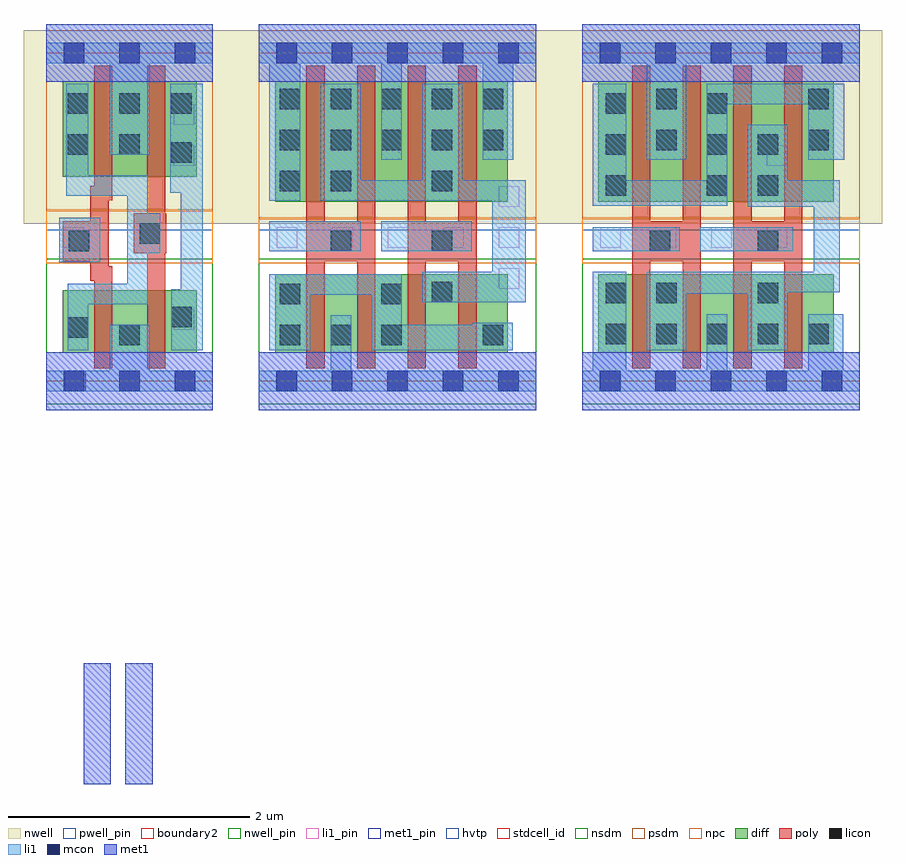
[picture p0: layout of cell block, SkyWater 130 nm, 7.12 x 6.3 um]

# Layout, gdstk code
import gdstk
lib = gdstk.Library(unit=1e-6, precision=1e-09)
def R(c, l, rs):  # rectangles x0, y0, x1, y1
    for r in rs: c.add(gdstk.rectangle(r[:2], r[2:], *l))
def A(c, l, x, y, w, h, nx, ny, dx, dy):  # array of equal rectangles
    R(c, l, [(x+i*dx, y+j*dy, x+i*dx+w, y+j*dy+h) for i in range(nx) for j in range(ny)])
def P(c, l, *ps):  # polygons
    for p in ps: c.add(gdstk.Polygon(p, *l))
nwell_pin = (64, 16)
nwell = (64, 20)
diff = (65, 20)
poly = (66, 20)
licon = (66, 44)
li1_pin = (67, 16)
li1 = (67, 20)
mcon = (67, 44)
met1_pin = (68, 16)
met1 = (68, 20)
hvtp = (78, 44)
stdcell_id = (81, 4)
nsdm = (93, 44)
psdm = (94, 20)
npc = (95, 20)
pwell_pin = (122, 16)
boundary2 = (236, 0)

sky130_fd_sc_hd__buf_1 = lib.new_cell('sky130_fd_sc_hd__buf_1')
R(sky130_fd_sc_hd__buf_1, nwell_pin, [(0.145,2.635,0.315,2.805)])
R(sky130_fd_sc_hd__buf_1, nwell, [(-0.19,1.305,1.57,2.91)])
R(sky130_fd_sc_hd__buf_1, diff, [(0.135,0.235,1.245,0.755), (0.135,1.695,1.245,2.485)])
P(sky130_fd_sc_hd__buf_1, poly, [(0.835,0.105),(0.835,1.06),(0.725,1.06),(0.725,1.39),(0.835,1.39),(0.835,2.615),(0.985,2.615),(0.985,1.39),(0.995,1.39),(0.995,1.06),(0.985,1.06),(0.985,0.105)],
  [(0.395,0.105),(0.395,0.83),(0.365,0.83),(0.365,0.995),(0.135,0.995),(0.135,1.325),(0.365,1.325),(0.365,1.62),(0.395,1.62),(0.395,2.615),(0.545,2.615),(0.545,1.5),(0.515,1.5),(0.515,0.95),(0.545,0.95),(0.545,0.105)])
A(sky130_fd_sc_hd__buf_1, licon, 0.175, 2.215, 0.17, 0.17, 3, 1, 0.43, 0)
R(sky130_fd_sc_hd__buf_1, licon, [(0.605,0.295,0.775,0.465), (0.175,0.36,0.345,0.53), (1.035,0.445,1.205,0.615), (0.185,1.075,0.355,1.245), (0.775,1.14,0.945,1.31), (1.035,1.81,1.205,1.98), (0.175,1.875,0.345,2.045), (0.605,1.875,0.775,2.045)])
R(sky130_fd_sc_hd__buf_1, li1_pin, [(0.155,-0.085,0.325,0.085), (1.055,0.425,1.225,0.595), (0.145,1.105,0.315,1.275), (1.055,1.785,1.225,1.955), (1.055,2.125,1.225,2.295), (0.145,2.635,0.315,2.805)])
R(sky130_fd_sc_hd__buf_1, li1, [(0.105,0.985,0.445,1.355)])
P(sky130_fd_sc_hd__buf_1, li1, [(1.035,0.255),(1.035,0.76),(1.115,0.76),(1.115,1.56),(1.025,1.56),(1.025,2.465),(1.295,2.465),(1.295,0.255)],
  [(0,-0.085),(0,0.085),(0.525,0.085),(0.525,0.465),(0.855,0.465),(0.855,0.085),(1.38,0.085),(1.38,-0.085)],
  [(0.175,0.255),(0.175,0.805),(0.67,0.805),(0.67,1.535),(0.165,1.535),(0.165,2.465),(0.345,2.465),(0.345,1.705),(0.84,1.705),(0.84,1.39),(0.945,1.39),(0.945,1.06),(0.84,1.06),(0.84,0.635),(0.345,0.635),(0.345,0.255)],
  [(0.525,1.875),(0.525,2.635),(0,2.635),(0,2.805),(1.38,2.805),(1.38,2.635),(0.855,2.635),(0.855,1.875)])
A(sky130_fd_sc_hd__buf_1, mcon, 0.145, -0.085, 0.17, 0.17, 3, 2, 0.46, 2.72)
R(sky130_fd_sc_hd__buf_1, met1_pin, [(0.155,-0.085,0.325,0.085), (0.145,2.635,0.315,2.805)])
R(sky130_fd_sc_hd__buf_1, hvtp, [(0,1.25,1.38,2.72)])
R(sky130_fd_sc_hd__buf_1, stdcell_id, [(0,0,1.38,2.72)])
R(sky130_fd_sc_hd__buf_1, nsdm, [(0,-0.19,1.38,1.015)])
R(sky130_fd_sc_hd__buf_1, psdm, [(0,1.42,1.38,2.91)])
R(sky130_fd_sc_hd__buf_1, npc, [(0,0.975,1.38,1.41)])
R(sky130_fd_sc_hd__buf_1, pwell_pin, [(0.155,-0.085,0.325,0.085)])
R(sky130_fd_sc_hd__buf_1, boundary2, [(0,0,1.38,2.72)])
sky130_fd_sc_hd__buf_1.add(gdstk.FlexPath([(0,0),(1.38,0)], 0.48, ends="flush", simple_path=True, layer=68, datatype=20))  # met1
sky130_fd_sc_hd__buf_1.add(gdstk.FlexPath([(0,2.72),(1.38,2.72)], 0.48, ends="flush", simple_path=True, layer=68, datatype=20))  # met1
sky130_fd_sc_hd__buf_1.add(gdstk.Label('VGND', (0.23,0), layer=68, texttype=5))
sky130_fd_sc_hd__buf_1.add(gdstk.Label('VPWR', (0.23,2.72), layer=68, texttype=5))
sky130_fd_sc_hd__buf_1.add(gdstk.Label('VPWR', (0.23,2.72), layer=67, texttype=5))
sky130_fd_sc_hd__buf_1.add(gdstk.Label('VGND', (0.23,0), layer=67, texttype=5))
sky130_fd_sc_hd__buf_1.add(gdstk.Label('X', (1.14,0.51), layer=67, texttype=5))
sky130_fd_sc_hd__buf_1.add(gdstk.Label('X', (1.14,1.87), layer=67, texttype=5))
sky130_fd_sc_hd__buf_1.add(gdstk.Label('X', (1.14,2.21), layer=67, texttype=5))
sky130_fd_sc_hd__buf_1.add(gdstk.Label('A', (0.23,1.19), layer=67, texttype=5))
sky130_fd_sc_hd__buf_1.add(gdstk.Label('VPB', (0.23,2.72), layer=64, texttype=5))
sky130_fd_sc_hd__buf_1.add(gdstk.Label('VNB', (0.23,0), layer=64, texttype=59))
sky130_fd_sc_hd__buf_1.add(gdstk.Label('buf_1', (0,0), layer=83, texttype=44))

sky130_fd_sc_hd__nand2_2 = lib.new_cell('sky130_fd_sc_hd__nand2_2')
R(sky130_fd_sc_hd__nand2_2, nwell_pin, [(0.15,2.635,0.32,2.805)])
R(sky130_fd_sc_hd__nand2_2, nwell, [(-0.19,1.305,2.49,2.91)])
R(sky130_fd_sc_hd__nand2_2, diff, [(0.135,0.235,2.065,0.885), (0.135,1.485,2.065,2.485)])
P(sky130_fd_sc_hd__nand2_2, poly, [(1.235,0.105),(1.235,2.615),(1.385,2.615),(1.385,1.325),(1.655,1.325),(1.655,2.615),(1.805,2.615),(1.805,0.105),(1.655,0.105),(1.655,0.995),(1.385,0.995),(1.385,0.105)],
  [(0.395,0.105),(0.395,2.615),(0.545,2.615),(0.545,1.325),(0.815,1.325),(0.815,2.615),(0.965,2.615),(0.965,0.105),(0.815,0.105),(0.815,0.995),(0.545,0.995),(0.545,0.105)])
A(sky130_fd_sc_hd__nand2_2, licon, 0.175, 0.295, 0.17, 0.17, 3, 1, 0.42, 0)
A(sky130_fd_sc_hd__nand2_2, licon, 0.175, 1.915, 0.17, 0.17, 5, 2, 0.42, 0.34)
R(sky130_fd_sc_hd__nand2_2, licon, [(1.855,0.295,2.025,0.465), (0.175,0.635,0.345,0.805), (1.015,0.635,1.185,0.805), (1.435,0.655,1.605,0.825), (0.595,1.075,0.765,1.245), (1.435,1.075,1.605,1.245), (0.175,1.575,0.345,1.745), (0.595,1.575,0.765,1.745), (1.435,1.575,1.605,1.745)])
A(sky130_fd_sc_hd__nand2_2, li1_pin, 0.15, 1.105, 0.17, 0.17, 5, 1, 0.46, 0)
R(sky130_fd_sc_hd__nand2_2, li1_pin, [(1.99,0.765,2.16,0.935), (1.99,1.445,2.16,1.615)])
R(sky130_fd_sc_hd__nand2_2, li1, [(0.085,1.075,0.845,1.325), (1.015,1.075,1.765,1.325)])
P(sky130_fd_sc_hd__nand2_2, li1, [(0,-0.085),(0,0.085),(0.595,0.085),(0.595,0.545),(0.765,0.545),(0.765,0.085),(2.3,0.085),(2.3,-0.085)],
  [(0.085,1.495),(0.085,2.635),(0,2.635),(0,2.805),(2.3,2.805),(2.3,2.635),(2.11,2.635),(2.11,1.835),(1.855,1.835),(1.855,2.635),(1.185,2.635),(1.185,1.835),(1.015,1.835),(1.015,2.635),(0.345,2.635),(0.345,1.495)],
  [(0.085,0.255),(0.085,0.885),(1.185,0.885),(1.185,0.465),(1.775,0.465),(1.775,0.485),(2.105,0.485),(2.105,0.255),(0.935,0.255),(0.935,0.715),(0.425,0.715),(0.425,0.255)],
  [(1.355,0.655),(1.355,0.905),(1.935,0.905),(1.935,1.495),(0.515,1.495),(0.515,2.465),(0.845,2.465),(0.845,1.665),(1.355,1.665),(1.355,2.465),(1.685,2.465),(1.685,1.665),(2.215,1.665),(2.215,0.655)])
A(sky130_fd_sc_hd__nand2_2, mcon, 0.145, -0.085, 0.17, 0.17, 5, 2, 0.46, 2.72)
R(sky130_fd_sc_hd__nand2_2, met1_pin, [(0.15,-0.085,0.32,0.085), (0.15,2.635,0.32,2.805)])
R(sky130_fd_sc_hd__nand2_2, hvtp, [(0,1.25,2.3,2.72)])
R(sky130_fd_sc_hd__nand2_2, stdcell_id, [(0,0,2.3,2.72)])
R(sky130_fd_sc_hd__nand2_2, nsdm, [(0,-0.19,2.3,1.015)])
R(sky130_fd_sc_hd__nand2_2, psdm, [(0,1.355,2.3,2.91)])
R(sky130_fd_sc_hd__nand2_2, npc, [(0,0.975,2.3,1.345)])
R(sky130_fd_sc_hd__nand2_2, pwell_pin, [(0.15,-0.085,0.32,0.085)])
R(sky130_fd_sc_hd__nand2_2, boundary2, [(0,0,2.3,2.72)])
sky130_fd_sc_hd__nand2_2.add(gdstk.FlexPath([(0,2.72),(2.3,2.72)], 0.48, ends="flush", simple_path=True, layer=68, datatype=20))  # met1
sky130_fd_sc_hd__nand2_2.add(gdstk.FlexPath([(0,0),(2.3,0)], 0.48, ends="flush", simple_path=True, layer=68, datatype=20))  # met1
sky130_fd_sc_hd__nand2_2.add(gdstk.Label('VGND', (0.23,0), layer=68, texttype=5))
sky130_fd_sc_hd__nand2_2.add(gdstk.Label('VPWR', (0.23,2.72), layer=68, texttype=5))
sky130_fd_sc_hd__nand2_2.add(gdstk.Label('Y', (2.075,0.85), layer=67, texttype=5))
sky130_fd_sc_hd__nand2_2.add(gdstk.Label('Y', (2.075,1.19), layer=67, texttype=5))
sky130_fd_sc_hd__nand2_2.add(gdstk.Label('Y', (2.075,1.53), layer=67, texttype=5))
sky130_fd_sc_hd__nand2_2.add(gdstk.Label('A', (1.615,1.19), layer=67, texttype=5))
sky130_fd_sc_hd__nand2_2.add(gdstk.Label('B', (0.695,1.19), layer=67, texttype=5))
sky130_fd_sc_hd__nand2_2.add(gdstk.Label('VPB', (0.23,2.72), layer=64, texttype=5))
sky130_fd_sc_hd__nand2_2.add(gdstk.Label('VNB', (0.23,0), layer=64, texttype=59))
sky130_fd_sc_hd__nand2_2.add(gdstk.Label('nand2_2', (0,0), layer=83, texttype=44))

sky130_fd_sc_hd__nor2_2 = lib.new_cell('sky130_fd_sc_hd__nor2_2')
R(sky130_fd_sc_hd__nor2_2, nwell_pin, [(0.15,2.635,0.32,2.805)])
R(sky130_fd_sc_hd__nor2_2, nwell, [(-0.19,1.305,2.49,2.91)])
R(sky130_fd_sc_hd__nor2_2, diff, [(0.135,0.235,2.085,0.885), (0.135,1.485,2.085,2.485)])
P(sky130_fd_sc_hd__nor2_2, poly, [(0.415,0.105),(0.415,2.615),(0.565,2.615),(0.565,1.325),(0.835,1.325),(0.835,2.615),(0.985,2.615),(0.985,0.105),(0.835,0.105),(0.835,0.995),(0.565,0.995),(0.565,0.105)],
  [(1.255,0.105),(1.255,2.615),(1.405,2.615),(1.405,1.325),(1.675,1.325),(1.675,2.615),(1.825,2.615),(1.825,0.105),(1.675,0.105),(1.675,0.995),(1.405,0.995),(1.405,0.105)])
A(sky130_fd_sc_hd__nor2_2, licon, 0.195, 0.305, 0.17, 0.17, 5, 1, 0.42, 0)
A(sky130_fd_sc_hd__nor2_2, licon, 0.195, 1.535, 0.17, 0.17, 1, 3, 0, 0.34)
A(sky130_fd_sc_hd__nor2_2, licon, 1.035, 1.535, 0.17, 0.17, 1, 3, 0, 0.34)
R(sky130_fd_sc_hd__nor2_2, licon, [(0.195,0.645,0.365,0.815), (0.615,0.645,0.785,0.815), (1.455,0.645,1.625,0.815), (0.56,1.075,0.73,1.245), (1.455,1.075,1.625,1.245), (1.455,1.535,1.625,1.705), (1.455,1.875,1.625,2.045), (0.615,1.915,0.785,2.085), (1.875,1.915,2.045,2.085), (0.615,2.255,0.785,2.425), (1.875,2.255,2.045,2.425)])
A(sky130_fd_sc_hd__nor2_2, li1_pin, 0.15, 1.105, 0.17, 0.17, 4, 1, 0.46, 0)
R(sky130_fd_sc_hd__nor2_2, li1_pin, [(1.53,1.785,1.7,1.955)])
R(sky130_fd_sc_hd__nor2_2, li1, [(0.09,1.075,0.81,1.275), (0.98,1.075,1.75,1.275)])
P(sky130_fd_sc_hd__nor2_2, li1, [(0,-0.085),(0,0.085),(0.09,0.085),(0.09,0.905),(0.365,0.905),(0.365,0.085),(1.035,0.085),(1.035,0.555),(1.205,0.555),(1.205,0.085),(1.875,0.085),(1.875,0.555),(2.165,0.555),(2.165,0.085),(2.3,0.085),(2.3,-0.085)],
  [(0.535,1.835),(0.535,2.635),(0,2.635),(0,2.805),(2.3,2.805),(2.3,2.635),(0.865,2.635),(0.865,1.835)],
  [(0.535,0.255),(0.535,0.905),(1.92,0.905),(1.92,1.445),(1.375,1.445),(1.375,2.125),(1.705,2.125),(1.705,1.665),(2.135,1.665),(2.135,0.735),(1.705,0.735),(1.705,0.255),(1.375,0.255),(1.375,0.725),(0.865,0.725),(0.865,0.255)],
  [(0.09,1.455),(0.09,2.465),(0.365,2.465),(0.365,1.665),(1.035,1.665),(1.035,2.465),(2.175,2.465),(2.175,1.835),(1.875,1.835),(1.875,2.295),(1.205,2.295),(1.205,1.455)])
A(sky130_fd_sc_hd__nor2_2, mcon, 0.145, -0.085, 0.17, 0.17, 5, 2, 0.46, 2.72)
R(sky130_fd_sc_hd__nor2_2, met1_pin, [(0.15,-0.085,0.32,0.085), (0.15,2.635,0.32,2.805)])
R(sky130_fd_sc_hd__nor2_2, hvtp, [(0,1.25,2.3,2.72)])
R(sky130_fd_sc_hd__nor2_2, stdcell_id, [(0,0,2.3,2.72)])
R(sky130_fd_sc_hd__nor2_2, nsdm, [(0,-0.19,2.3,1.015)])
R(sky130_fd_sc_hd__nor2_2, psdm, [(0,1.355,2.3,2.91)])
R(sky130_fd_sc_hd__nor2_2, npc, [(0,0.975,2.3,1.345)])
R(sky130_fd_sc_hd__nor2_2, pwell_pin, [(0.15,-0.085,0.32,0.085)])
R(sky130_fd_sc_hd__nor2_2, boundary2, [(0,0,2.3,2.72)])
sky130_fd_sc_hd__nor2_2.add(gdstk.FlexPath([(0,2.72),(2.3,2.72)], 0.48, ends="flush", simple_path=True, layer=68, datatype=20))  # met1
sky130_fd_sc_hd__nor2_2.add(gdstk.FlexPath([(0,0),(2.3,0)], 0.48, ends="flush", simple_path=True, layer=68, datatype=20))  # met1
sky130_fd_sc_hd__nor2_2.add(gdstk.Label('VGND', (0.235,0), layer=68, texttype=5))
sky130_fd_sc_hd__nor2_2.add(gdstk.Label('VPWR', (0.235,2.72), layer=68, texttype=5))
sky130_fd_sc_hd__nor2_2.add(gdstk.Label('B', (1.155,1.19), layer=67, texttype=5))
sky130_fd_sc_hd__nor2_2.add(gdstk.Label('Y', (1.615,1.87), layer=67, texttype=5))
sky130_fd_sc_hd__nor2_2.add(gdstk.Label('A', (0.235,1.19), layer=67, texttype=5))
sky130_fd_sc_hd__nor2_2.add(gdstk.Label('VPB', (0.235,2.72), layer=64, texttype=5))
sky130_fd_sc_hd__nor2_2.add(gdstk.Label('VNB', (0.235,0), layer=64, texttype=59))
sky130_fd_sc_hd__nor2_2.add(gdstk.Label('nor2_2', (0,0), layer=83, texttype=44))

block = lib.new_cell('block')
R(block, met1, [(0.31,-3.34,0.535,-2.34), (0.655,-3.34,0.88,-2.34)])
block.add(gdstk.Reference(sky130_fd_sc_hd__buf_1, (0,0)))
block.add(gdstk.Reference(sky130_fd_sc_hd__nand2_2, (1.76,0)))
block.add(gdstk.Reference(sky130_fd_sc_hd__nor2_2, (4.44,0)))

lib.write_gds('block.gds')
